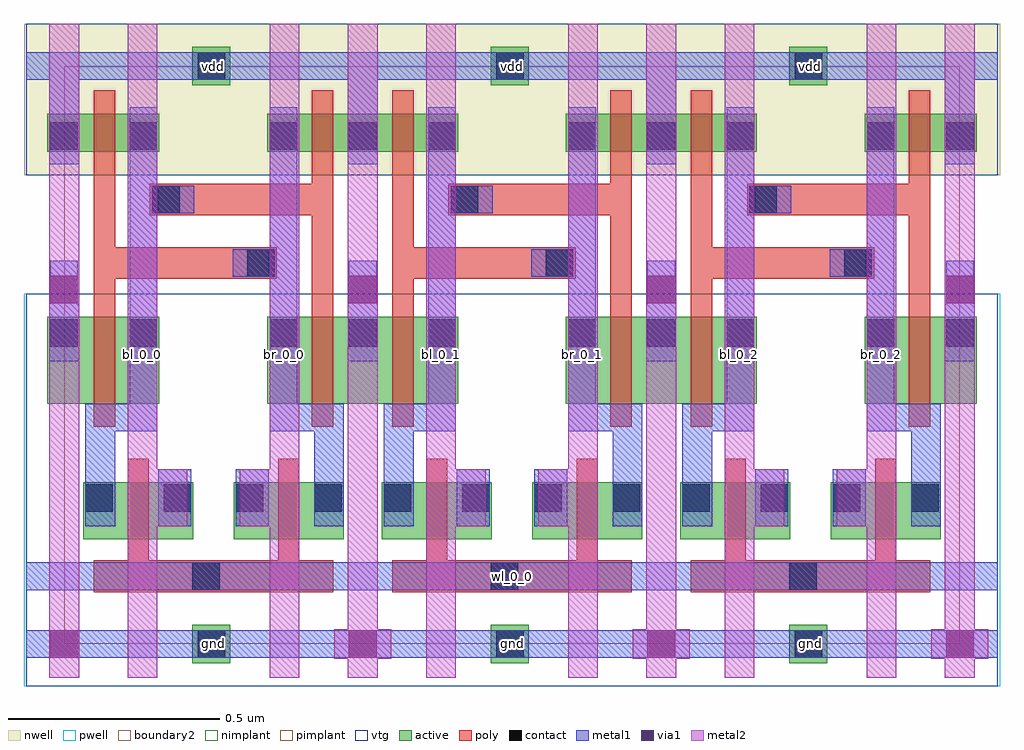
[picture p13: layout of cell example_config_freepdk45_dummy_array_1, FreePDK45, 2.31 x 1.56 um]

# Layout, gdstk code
import gdstk
lib = gdstk.Library(unit=1e-6, precision=5e-10)
def R(c, l, rs):  # rectangles x0, y0, x1, y1
    for r in rs: c.add(gdstk.rectangle(r[:2], r[2:], *l))
def A(c, l, x, y, w, h, nx, ny, dx, dy):  # array of equal rectangles
    R(c, l, [(x+i*dx, y+j*dy, x+i*dx+w, y+j*dy+h) for i in range(nx) for j in range(ny)])
active = (1, 0)
pwell = (2, 0)
nwell = (3, 0)
nimplant = (4, 0)
pimplant = (5, 0)
vtg = (6, 0)
poly = (9, 0)
contact = (10, 0)
metal1 = (11, 0)
via1 = (12, 0)
metal2 = (13, 0)
boundary2 = (239, 0)

dummy_cell_1rw = lib.new_cell('dummy_cell_1rw')
R(dummy_cell_1rw, active, [(0.3025,-0.045,0.3925,0.045), (0.3025,-0.045,0.3925,0.045), (0.045,0.2475,0.305,0.3825), (0.045,0.2475,0.12,0.3825), (0.045,0.2475,0.12,0.3825), (0.23,0.2475,0.305,0.3825), (0.23,0.2475,0.305,0.3825), (0.4,0.2475,0.66,0.3825), (0.4,0.2475,0.475,0.3825), (0.4,0.2475,0.475,0.3825), (0.585,0.2475,0.66,0.3825), (0.585,0.2475,0.66,0.3825), (0.045,0.3075,0.12,0.3825), (0.23,0.3075,0.305,0.3825), (0.4,0.3075,0.475,0.3825), (0.585,0.3075,0.66,0.3825), (-0.04,0.5675,0.04,0.7725), (-0.035,0.5675,0.225,0.7725), (-0.035,0.5675,0.04,0.7725), (0.15,0.5675,0.225,0.7725), (0.15,0.5675,0.225,0.7725), (0.48,0.5675,0.74,0.7725), (0.48,0.5675,0.555,0.7725), (0.48,0.5675,0.555,0.7725), (0.665,0.5675,0.74,0.7725), (0.665,0.5675,0.745,0.7725), (-0.035,0.6975,0.04,0.7725), (0.15,0.6975,0.225,0.7725), (0.48,0.6975,0.555,0.7725), (0.665,0.6975,0.74,0.7725), (-0.04,1.1625,0.04,1.2525), (-0.035,1.1625,0.04,1.2375), (-0.035,1.1625,0.225,1.2525), (-0.035,1.1625,0.04,1.2525), (0.15,1.1625,0.225,1.2375), (0.15,1.1625,0.225,1.2525), (0.15,1.1625,0.225,1.2525), (0.48,1.1625,0.555,1.2375), (0.48,1.1625,0.74,1.2525), (0.48,1.1625,0.555,1.2525), (0.48,1.1625,0.555,1.2525), (0.665,1.1625,0.74,1.2375), (0.665,1.1625,0.74,1.2525), (0.665,1.1625,0.745,1.2525), (0.3025,1.32,0.3925,1.41), (0.3025,1.32,0.3925,1.41)])
R(dummy_cell_1rw, pwell, [(-0.095,-0.1,0.8,0.8275), (0.2475,-0.1,0.4475,0.1), (0.2475,-0.08,0.4475,0.12), (-0.01,0.1925,0.36,0.4375), (0.345,0.1925,0.715,0.4375), (-0.09,0.5125,0.28,0.8275), (0.425,0.5125,0.795,0.8275)])
R(dummy_cell_1rw, nwell, [(-0.095,1.1075,0.8,1.465), (-0.09,1.1075,0.28,1.3075), (0.425,1.1075,0.795,1.3075), (0.2475,1.265,0.4475,1.465), (0.2475,1.265,0.4475,1.465)])
R(dummy_cell_1rw, nimplant, [(0.045,0.2475,0.305,0.3825), (0.4,0.2475,0.66,0.3825), (-0.035,0.5675,0.225,0.7725), (0.48,0.5675,0.74,0.7725), (0.3025,1.32,0.3925,1.41), (0.3025,1.32,0.3925,1.41)])
R(dummy_cell_1rw, pimplant, [(0.3025,-0.045,0.3925,0.045), (-0.035,1.1625,0.225,1.2525), (0.48,1.1625,0.74,1.2525)])
R(dummy_cell_1rw, vtg, [(-0.09,-0.1,0.795,0.8275), (-0.01,0.1925,0.36,0.4375), (0.345,0.1925,0.715,0.4375), (-0.09,0.5125,0.28,0.8275), (0.425,0.5125,0.795,0.8275), (-0.09,1.1075,0.28,1.3075), (-0.09,1.1075,0.795,1.465), (0.425,1.1075,0.795,1.3075)])
R(dummy_cell_1rw, poly, [(0.07,0.1225,0.635,0.1975), (0.2975,0.1225,0.3725,0.1975), (0.15,0.1925,0.2,0.2475), (0.15,0.1925,0.2,0.4375), (0.505,0.1925,0.555,0.2475), (0.505,0.1925,0.555,0.4375), (0.15,0.3825,0.2,0.4375), (0.505,0.3825,0.555,0.4375), (0.07,0.5125,0.12,0.5675), (0.07,0.5125,0.12,0.8275), (0.585,0.5125,0.635,0.5675), (0.585,0.5125,0.635,0.8275), (0.07,0.7725,0.12,0.8275), (0.585,0.7725,0.635,0.8275), (0.07,0.8275,0.12,1.1075), (0.07,0.8275,0.12,1.1075), (0.585,0.8275,0.635,1.1075), (0.585,0.8275,0.635,1.1075), (0.07,0.8625,0.5025,0.9375), (0.4275,0.8625,0.5025,0.9375), (0.4275,0.8625,0.5025,0.9375), (0.2025,1.0125,0.2775,1.0875), (0.2025,1.0125,0.2775,1.0875), (0.2025,1.0125,0.635,1.0875), (0.07,1.1075,0.12,1.1625), (0.07,1.1075,0.12,1.3075), (0.585,1.1075,0.635,1.1625), (0.585,1.1075,0.635,1.3075), (0.07,1.2525,0.12,1.3075), (0.585,1.2525,0.635,1.3075)])
R(dummy_cell_1rw, contact, [(0.315,-0.0325,0.38,0.0325), (0.3025,0.1275,0.3675,0.1925), (0.05,0.3125,0.115,0.3775), (0.235,0.3125,0.3,0.3775), (0.405,0.3125,0.47,0.3775), (0.59,0.3125,0.655,0.3775), (-0.0325,0.7025,0.0325,0.7675), (0.155,0.7025,0.22,0.7675), (0.485,0.7025,0.55,0.7675), (0.6725,0.7025,0.7375,0.7675), (0.4325,0.8675,0.4975,0.9325), (0.4325,0.8675,0.4975,0.9325), (0.2075,1.0175,0.2725,1.0825), (0.2075,1.0175,0.2725,1.0825), (-0.0325,1.1675,0.0325,1.2325), (0.155,1.1675,0.22,1.2325), (0.485,1.1675,0.55,1.2325), (0.6725,1.1675,0.7375,1.2325), (0.315,1.3325,0.38,1.3975)])
R(dummy_cell_1rw, metal1, [(-0.09,-0.0325,0.795,0.0325), (-0.09,-0.0325,0.795,0.0325), (0.285,-0.0325,0.42,0.0325), (0.285,-0.0325,0.42,0.0325), (0.6375,-0.0325,0.7725,0.0325), (0.6375,-0.0325,0.7725,0.0325), (0.6375,-0.0325,0.7725,0.0325), (0.6375,-0.0325,0.7725,0.0325), (-0.09,0.1275,0.795,0.1925), (-0.09,0.1275,0.795,0.1925), (0.2675,0.1275,0.4025,0.1925), (-0.085,0.13,-0.0325,0.1925), (0.62,0.13,0.6725,0.1925), (0.05,0.2775,0.115,0.4125), (0.05,0.2775,0.12,0.5675), (0.2225,0.2775,0.2875,0.4125), (0.235,0.2775,0.3,0.4125), (0.405,0.2775,0.47,0.4125), (0.4175,0.2775,0.4825,0.4125), (0.59,0.2775,0.655,0.4125), (0.59,0.2775,0.66,0.5675), (0.05,0.5025,0.22,0.5675), (0.155,0.5025,0.22,1.2425), (0.485,0.5025,0.66,0.5675), (0.485,0.5025,0.55,1.1325), (-0.035,0.6675,0.035,0.8025), (-0.035,0.6675,0.035,0.8025), (-0.03,0.6675,0.035,0.8025), (0.155,0.6675,0.22,0.8025), (0.485,0.6675,0.55,0.8025), (0.67,0.6675,0.735,0.8025), (0.67,0.6675,0.74,0.8025), (0.67,0.6675,0.74,0.8025), (0.67,0.6675,0.74,0.8025), (0.67,0.6675,0.74,0.8025), (0.67,0.6675,0.74,0.8025), (0.67,0.6675,0.74,0.8025), (-0.0325,0.77,0.0325,0.905), (-0.0325,0.77,0.0325,0.905), (-0.0325,0.77,0.0325,0.905), (-0.0325,0.77,0.0325,0.905), (-0.0325,0.77,0.0325,0.905), (-0.0325,0.77,0.0325,0.905), (0.6725,0.77,0.7375,0.905), (0.6725,0.77,0.7375,0.905), (0.6725,0.77,0.7375,0.905), (0.6725,0.77,0.7375,0.905), (0.6725,0.77,0.7375,0.905), (0.6725,0.77,0.7375,0.905), (0.6725,0.77,0.7375,0.905), (0.6725,0.77,0.7375,0.905), (0.6725,0.77,0.7375,0.905), (0.6725,0.77,0.7375,0.905), (0.6725,0.77,0.7375,0.905), (0.6725,0.77,0.7375,0.905), (0.6725,0.77,0.7375,0.905), (0.6725,0.77,0.7375,0.905), (0.6725,0.77,0.7375,0.905), (0.6725,0.77,0.7375,0.905), (0.6725,0.77,0.7375,0.905), (0.6725,0.77,0.7375,0.905), (0.6725,0.77,0.7375,0.905), (0.6725,0.77,0.7375,0.905), (0.6725,0.77,0.7375,0.905), (0.6725,0.77,0.7375,0.905), (0.6725,0.77,0.7375,0.905), (0.6725,0.77,0.7375,0.905), (0.3975,0.8675,0.5325,0.9325), (0.3975,0.8675,0.5325,0.9325), (0.1725,1.0175,0.3075,1.0825), (0.1725,1.0175,0.3075,1.0825), (-0.035,1.1325,0.035,1.3325), (-0.03,1.1325,0.035,1.2675), (0.155,1.1325,0.22,1.2675), (0.485,1.1325,0.55,1.2675), (0.67,1.1325,0.735,1.2675), (0.67,1.1325,0.74,1.3325), (0.67,1.1325,0.74,1.3325), (-0.09,1.3325,0.795,1.3975), (-0.09,1.3325,0.795,1.3975)])
R(dummy_cell_1rw, via1, [(-0.0325,-0.0325,0.0325,0.0325), (-0.0325,-0.0325,0.0325,0.0325), (0.6725,-0.0325,0.7375,0.0325), (0.6725,-0.0325,0.7375,0.0325), (0.6725,-0.0325,0.7375,0.0325), (0.6725,-0.0325,0.7375,0.0325), (-0.0325,0.805,0.0325,0.87), (-0.0325,0.805,0.0325,0.87), (-0.0325,0.805,0.0325,0.87), (-0.0325,0.805,0.0325,0.87), (-0.0325,0.805,0.0325,0.87), (-0.0325,0.805,0.0325,0.87), (0.6725,0.805,0.7375,0.87), (0.6725,0.805,0.7375,0.87), (0.6725,0.805,0.7375,0.87), (0.6725,0.805,0.7375,0.87), (0.6725,0.805,0.7375,0.87), (0.6725,0.805,0.7375,0.87), (0.6725,0.805,0.7375,0.87), (0.6725,0.805,0.7375,0.87), (0.6725,0.805,0.7375,0.87), (0.6725,0.805,0.7375,0.87), (0.6725,0.805,0.7375,0.87), (0.6725,0.805,0.7375,0.87), (0.6725,0.805,0.7375,0.87), (0.6725,0.805,0.7375,0.87), (0.6725,0.805,0.7375,0.87), (0.6725,0.805,0.7375,0.87), (0.6725,0.805,0.7375,0.87), (0.6725,0.805,0.7375,0.87), (0.6725,0.805,0.7375,0.87), (0.6725,0.805,0.7375,0.87), (0.6725,0.805,0.7375,0.87), (0.6725,0.805,0.7375,0.87), (0.6725,0.805,0.7375,0.87), (0.6725,0.805,0.7375,0.87)])
R(dummy_cell_1rw, metal2, [(-0.035,-0.08,0.035,1.465), (0.15,-0.08,0.22,1.465), (0.15,-0.08,0.22,1.465), (0.485,-0.08,0.555,1.465), (0.485,-0.08,0.555,1.465), (0.67,-0.08,0.74,1.465), (0.6375,-0.035,0.7725,0.035), (0.6375,-0.035,0.7725,0.035), (0.6375,-0.035,0.7725,0.035), (0.6375,-0.035,0.7725,0.035), (0.4925,-0.0325,0.55,0.0275), (-0.03,-0.03,0.03,0.0275), (0.1575,-0.025,0.2125,0.0275), (0.675,-0.025,0.735,0.0325), (0.67,-0.0125,0.74,1.3975), (0.22,0.2775,0.29,0.4125), (0.415,0.2775,0.485,0.4125), (-0.035,0.77,0.035,0.905), (-0.035,0.77,0.035,0.905), (-0.035,0.77,0.035,0.905), (-0.035,0.77,0.035,0.905), (-0.035,0.77,0.035,0.905), (-0.035,0.77,0.035,0.905), (0.67,0.77,0.74,0.905), (0.67,0.77,0.74,0.905), (0.67,0.77,0.74,0.905), (0.67,0.77,0.74,0.905), (0.67,0.77,0.74,0.905), (0.67,0.77,0.74,0.905), (0.67,0.77,0.74,0.905), (0.67,0.77,0.74,0.905), (0.67,0.77,0.74,0.905), (0.67,0.77,0.74,0.905), (0.67,0.77,0.74,0.905), (0.67,0.77,0.74,0.905), (0.67,0.77,0.74,0.905), (0.67,0.77,0.74,0.905), (0.67,0.77,0.74,0.905), (0.67,0.77,0.74,0.905), (0.67,0.77,0.74,0.905), (0.67,0.77,0.74,0.905), (0.67,0.77,0.74,0.905), (0.67,0.77,0.74,0.905), (0.67,0.77,0.74,0.905), (0.67,0.77,0.74,0.905), (0.67,0.77,0.74,0.905), (0.67,0.77,0.74,0.905)])
R(dummy_cell_1rw, boundary2, [(0,0.02,0.705,1.365)])
dummy_cell_1rw.add(gdstk.Label('gnd', (0.345,0), layer=11, texttype=0))
dummy_cell_1rw.add(gdstk.Label('vdd', (0.345,1.365), layer=11, texttype=0))
dummy_cell_1rw.add(gdstk.Label('wl', (-0.05,0.167), layer=11, texttype=0))
dummy_cell_1rw.add(gdstk.Label('br', (0.52,0.003), layer=13, texttype=0))
dummy_cell_1rw.add(gdstk.Label('bl', (0.19,0.003), layer=13, texttype=0))
dummy_cell_1rw.add(gdstk.Label('bl', (0.185,0.6925), layer=13, texttype=0))
dummy_cell_1rw.add(gdstk.Label('br', (0.52,0.6925), layer=13, texttype=0))
dummy_cell_1rw.add(gdstk.Label('wl', (0.3525,0.16), layer=11, texttype=0))
dummy_cell_1rw.add(gdstk.Label('vdd', (0.3525,1.365), layer=11, texttype=0))
dummy_cell_1rw.add(gdstk.Label('gnd', (0.3525,0), layer=11, texttype=0))

example_config_freepdk45 = lib.new_cell('example_config_freepdk45_dummy_array_1')
A(example_config_freepdk45, metal1, -0.09, -0.0325, 0.885, 0.065, 3, 2, 0.705, 1.365)
R(example_config_freepdk45, metal1, [(0,0.1275,2.115,0.1925)])
R(example_config_freepdk45, metal2, [(0.15,0,0.22,1.365), (0.485,0,0.555,1.365), (0.855,0,0.925,1.365), (1.19,0,1.26,1.365), (1.56,0,1.63,1.365), (1.895,0,1.965,1.365)])
R(example_config_freepdk45, boundary2, [(0,0,2.115,1.365)])
example_config_freepdk45.add(gdstk.Reference(dummy_cell_1rw, (0,0)))
example_config_freepdk45.add(gdstk.Reference(dummy_cell_1rw, (0.705,0)))
example_config_freepdk45.add(gdstk.Reference(dummy_cell_1rw, (1.41,0)))
example_config_freepdk45.add(gdstk.Label('bl_0_0', (0.185,0.6825), layer=13, texttype=0))
example_config_freepdk45.add(gdstk.Label('br_0_0', (0.52,0.6825), layer=13, texttype=0))
example_config_freepdk45.add(gdstk.Label('bl_0_1', (0.89,0.6825), layer=13, texttype=0))
example_config_freepdk45.add(gdstk.Label('br_0_1', (1.225,0.6825), layer=13, texttype=0))
example_config_freepdk45.add(gdstk.Label('bl_0_2', (1.595,0.6825), layer=13, texttype=0))
example_config_freepdk45.add(gdstk.Label('br_0_2', (1.93,0.6825), layer=13, texttype=0))
example_config_freepdk45.add(gdstk.Label('wl_0_0', (1.0575,0.16), layer=11, texttype=0))
example_config_freepdk45.add(gdstk.Label('vdd', (0.3525,1.365), layer=11, texttype=0))
example_config_freepdk45.add(gdstk.Label('vdd', (1.0575,1.365), layer=11, texttype=0))
example_config_freepdk45.add(gdstk.Label('vdd', (1.7625,1.365), layer=11, texttype=0))
example_config_freepdk45.add(gdstk.Label('gnd', (1.7625,0), layer=11, texttype=0))
example_config_freepdk45.add(gdstk.Label('gnd', (0.3525,0), layer=11, texttype=0))
example_config_freepdk45.add(gdstk.Label('gnd', (1.0575,0), layer=11, texttype=0))

lib.write_gds('example_config_freepdk45_dummy_array_1.gds')
